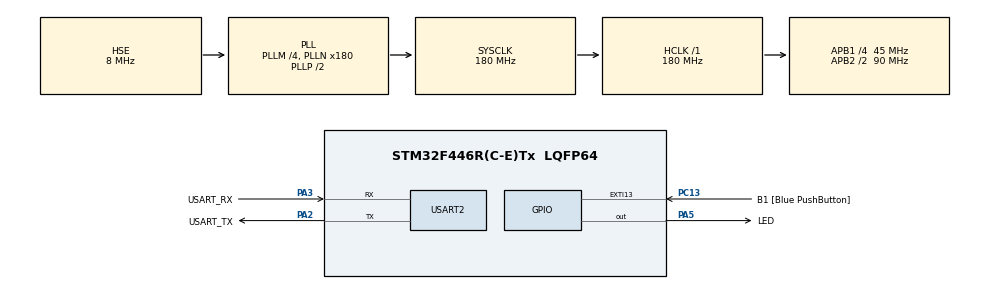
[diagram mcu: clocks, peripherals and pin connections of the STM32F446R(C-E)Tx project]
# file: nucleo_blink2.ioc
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Mcu.Family=STM32F4
Mcu.Name=STM32F446R(C-E)Tx
Mcu.Package=LQFP64
NVIC.PriorityGroup=NVIC_PRIORITYGROUP_0
PA13.GPIO_Label=TMS
PA13.Mode=Serial_Wire
PA13.Signal=SYS_JTMS-SWDIO
PA14.GPIO_Label=TCK
PA14.Mode=Serial_Wire
PA14.Signal=SYS_JTCK-SWCLK
PA2.GPIO_Label=USART_TX
PA2.Mode=Asynchronous
PA2.Signal=USART2_TX
PA3.GPIO_Label=USART_RX
PA3.Mode=Asynchronous
PA3.Signal=USART2_RX
PA5.GPIO_Label=LED
PA5.Signal=GPIO_Output
PB3.GPIO_Label=SWO
PB3.Signal=SYS_JTDO-SWO
PC13.GPIO_Label=B1 [Blue PushButton]
PC13.GPIO_ModeDefaultEXTI=GPIO_MODE_IT_FALLING
PC13.Signal=GPXTI13
PC14-OSC32_IN.Mode=LSE-External-Oscillator
PC14-OSC32_IN.Signal=RCC_OSC32_IN
PC15-OSC32_OUT.Mode=LSE-External-Oscillator
PC15-OSC32_OUT.Signal=RCC_OSC32_OUT
PH0-OSC_IN.Mode=HSE-External-Oscillator
PH0-OSC_IN.Signal=RCC_OSC_IN
PH1-OSC_OUT.Mode=HSE-External-Oscillator
PH1-OSC_OUT.Signal=RCC_OSC_OUT
ProjectManager.HeapSize=0x200
ProjectManager.StackSize=0x400
ProjectManager.TargetToolchain=STM32CubeIDE
RCC.48MHZClocksFreq_Value=84000000
RCC.AHBFreq_Value=180000000
RCC.APB1CLKDivider=RCC_HCLK_DIV4
RCC.APB1Freq_Value=45000000
RCC.APB1TimFreq_Value=90000000
RCC.APB2CLKDivider=RCC_HCLK_DIV2
RCC.APB2Freq_Value=90000000
RCC.APB2TimFreq_Value=180000000
RCC.CortexFreq_Value=180000000
RCC.FLatency-AdvancedSettings=FLASH_LATENCY_5
RCC.HCLKFreq_Value=180000000
RCC.HSE_VALUE=8000000
RCC.HSI_VALUE=16000000
RCC.PLLM=4
RCC.PLLN=180
RCC.PLLSourceVirtual=RCC_PLLSOURCE_HSE
RCC.SYSCLKFreq_VALUE=180000000
RCC.SYSCLKSource=RCC_SYSCLKSOURCE_PLLCLK
RCC.USBFreq_Value=180000000
RCC.VCOOutputFreq_Value=360000000
USART2.VirtualMode=VM_ASYNC
board=NUCLEO-F446RE

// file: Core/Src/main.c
/* USER CODE BEGIN Header */
/**
  ******************************************************************************
  * @file           : main.c
  * @brief          : Main program body
  ******************************************************************************
  * @attention
  *
  * Copyright (c) 2025 STMicroelectronics.
  * All rights reserved.
  *
  * This software is licensed under terms that can be found in the LICENSE file
  * in the root directory of this software component.
  * If no LICENSE file comes with this software, it is provided AS-IS.
  *
  ******************************************************************************
  */
/* USER CODE END Header */
#include "main.h"

/* USER CODE BEGIN Includes */
#include <stdio.h>
/* USER CODE END Includes */

UART_HandleTypeDef huart2;

void SystemClock_Config(void);
static void MX_GPIO_Init(void);
static void MX_USART2_UART_Init(void);

/* USER CODE BEGIN 0 */
// Send printf to uart1
int _write(int fd, char* ptr, int len) {
  HAL_StatusTypeDef hstatus;

  if (fd == 1 || fd == 2) {
    hstatus = HAL_UART_Transmit(&huart2, (uint8_t *) ptr, len, HAL_MAX_DELAY);
    if (hstatus == HAL_OK)
      return len;
    else
      return -1;
  }
  return -1;
}
/* USER CODE END 0 */

int main(void)
{

  /* MCU Configuration--------------------------------------------------------*/

  /* Reset of all peripherals, Initializes the Flash interface and the Systick. */
  HAL_Init();

  /* Configure the system clock */
  SystemClock_Config();

  /* Initialize all configured peripherals */
  MX_GPIO_Init();
  MX_USART2_UART_Init();
  /* USER CODE BEGIN 2 */
  printf("starting\n");
  /* USER CODE END 2 */

  /* Infinite loop */
  /* USER CODE BEGIN WHILE */
  uint32_t now = 0, last_blink = 0,last_tick = 0;
  while (1)
  {
	  now = HAL_GetTick();

	  if (now - last_blink >= 500){
		  HAL_GPIO_TogglePin(LED_GPIO_Port, LED_Pin);
		  if (HAL_GPIO_ReadPin(LED_GPIO_Port, LED_Pin)){
			  printf("LED is on!\n");
		  }else{
			  printf("LED is off!\n");
		  }
		  last_blink = now;
	  }

	  if (now - last_tick >= 1000){
		  printf("tick: %lu\n",now);
		  last_tick = now;
	  }
    /* USER CODE END WHILE */

  }
}

void SystemClock_Config(void)
{
  RCC_OscInitTypeDef RCC_OscInitStruct = {0};
  RCC_ClkInitTypeDef RCC_ClkInitStruct = {0};

  /** Configure the main internal regulator output voltage
  */
  __HAL_RCC_PWR_CLK_ENABLE();
  __HAL_PWR_VOLTAGESCALING_CONFIG(PWR_REGULATOR_VOLTAGE_SCALE1);

  /** Initializes the RCC Oscillators according to the specified parameters
  * in the RCC_OscInitTypeDef structure.
  */
  RCC_OscInitStruct.OscillatorType = RCC_OSCILLATORTYPE_HSE;
  RCC_OscInitStruct.HSEState = RCC_HSE_ON;
  RCC_OscInitStruct.PLL.PLLState = RCC_PLL_ON;
  RCC_OscInitStruct.PLL.PLLSource = RCC_PLLSOURCE_HSE;
  RCC_OscInitStruct.PLL.PLLM = 4;
  RCC_OscInitStruct.PLL.PLLN = 180;
  RCC_OscInitStruct.PLL.PLLP = RCC_PLLP_DIV2;
  RCC_OscInitStruct.PLL.PLLQ = 2;
  RCC_OscInitStruct.PLL.PLLR = 2;
  if (HAL_RCC_OscConfig(&RCC_OscInitStruct) != HAL_OK)
  {
    Error_Handler();
  }

  /** Activate the Over-Drive mode
  */
  if (HAL_PWREx_EnableOverDrive() != HAL_OK)
  {
    Error_Handler();
  }

  /** Initializes the CPU, AHB and APB buses clocks
  */
  RCC_ClkInitStruct.ClockType = RCC_CLOCKTYPE_HCLK|RCC_CLOCKTYPE_SYSCLK
                              |RCC_CLOCKTYPE_PCLK1|RCC_CLOCKTYPE_PCLK2;
  RCC_ClkInitStruct.SYSCLKSource = RCC_SYSCLKSOURCE_PLLCLK;
  RCC_ClkInitStruct.AHBCLKDivider = RCC_SYSCLK_DIV1;
  RCC_ClkInitStruct.APB1CLKDivider = RCC_HCLK_DIV4;
  RCC_ClkInitStruct.APB2CLKDivider = RCC_HCLK_DIV2;

  if (HAL_RCC_ClockConfig(&RCC_ClkInitStruct, FLASH_LATENCY_5) != HAL_OK)
  {
    Error_Handler();
  }
}

static void MX_USART2_UART_Init(void)
{

  huart2.Instance = USART2;
  huart2.Init.BaudRate = 115200;
  huart2.Init.WordLength = UART_WORDLENGTH_8B;
  huart2.Init.StopBits = UART_STOPBITS_1;
  huart2.Init.Parity = UART_PARITY_NONE;
  huart2.Init.Mode = UART_MODE_TX_RX;
  huart2.Init.HwFlowCtl = UART_HWCONTROL_NONE;
  huart2.Init.OverSampling = UART_OVERSAMPLING_16;
  if (HAL_UART_Init(&huart2) != HAL_OK)
  {
    Error_Handler();
  }

}

static void MX_GPIO_Init(void)
{
  GPIO_InitTypeDef GPIO_InitStruct = {0};

  /* GPIO Ports Clock Enable */
  __HAL_RCC_GPIOC_CLK_ENABLE();
  __HAL_RCC_GPIOH_CLK_ENABLE();
  __HAL_RCC_GPIOA_CLK_ENABLE();
  __HAL_RCC_GPIOB_CLK_ENABLE();

  /*Configure GPIO pin Output Level */
  HAL_GPIO_WritePin(LED_GPIO_Port, LED_Pin, GPIO_PIN_RESET);

  /*Configure GPIO pin : B1_Pin */
  GPIO_InitStruct.Pin = B1_Pin;
  GPIO_InitStruct.Mode = GPIO_MODE_IT_FALLING;
  GPIO_InitStruct.Pull = GPIO_NOPULL;
  HAL_GPIO_Init(B1_GPIO_Port, &GPIO_InitStruct);

  /*Configure GPIO pin : LED_Pin */
  GPIO_InitStruct.Pin = LED_Pin;
  GPIO_InitStruct.Mode = GPIO_MODE_OUTPUT_PP;
  GPIO_InitStruct.Pull = GPIO_NOPULL;
  GPIO_InitStruct.Speed = GPIO_SPEED_FREQ_LOW;
  HAL_GPIO_Init(LED_GPIO_Port, &GPIO_InitStruct);

}

void Error_Handler(void)
{
  __disable_irq();
  while (1)
  {
  }
}
